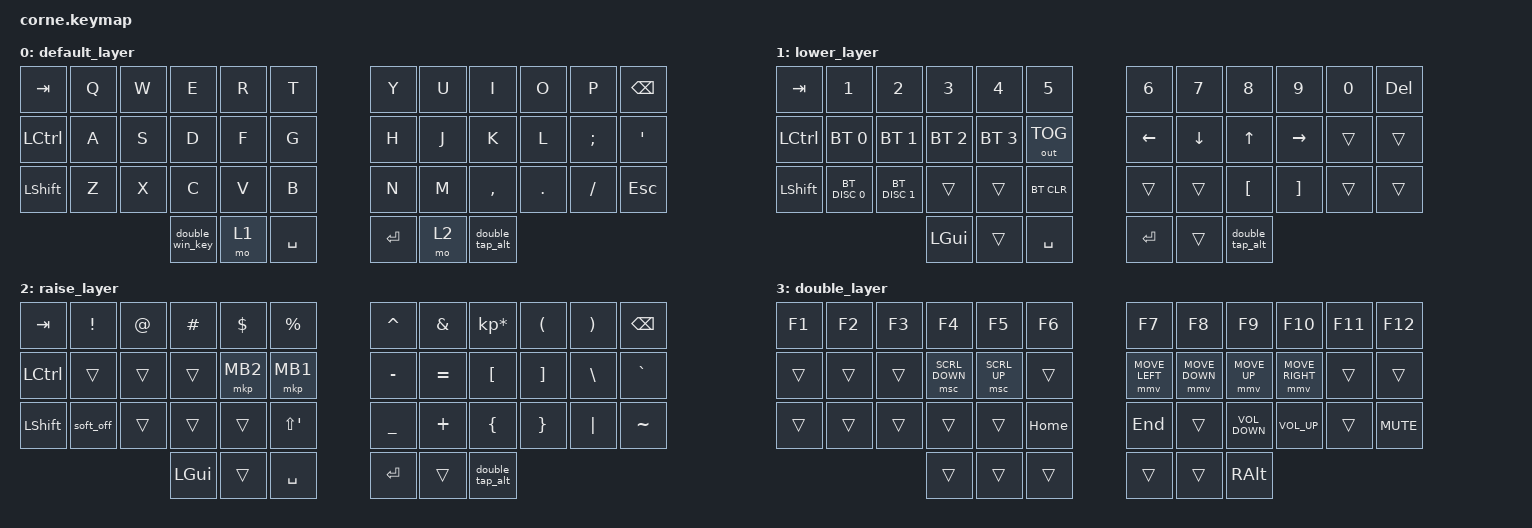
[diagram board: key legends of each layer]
/*
 * Copyright (c) 2020 The ZMK Contributors
 *
 * SPDX-License-Identifier: MIT
 */

#include <behaviors.dtsi>
#include <dt-bindings/zmk/bt.h>
#include <dt-bindings/zmk/keys.h>
#include <dt-bindings/zmk/outputs.h>
#include <dt-bindings/zmk/pointing.h>

/ {
    kscan: kscan {
        compatible = "zmk,kscan-gpio-matrix";
        diode-direction = "col2row";
        wakeup-source;
    };
};

/ {
    behaviors {
        double_tap_alt: double_tap_alt {
            compatible = "zmk,behavior-tap-dance";
            label = "DOUBLE_TAP_ALT";
            #binding-cells = <0>;
            bindings = <&kp LEFT_ALT>, <&kp RIGHT_ALT>;
        };

        double_win_key: double_win_key {
            compatible = "zmk,behavior-tap-dance";
            label = "DOUBLE_WIN_KEY";
            #binding-cells = <0>;
            bindings = <&kp LEFT_WIN>, <&kp LEFT_ALT>;

            tapping-term-ms = <200>;
        };

        soft_off_custom: soft_off_custom {
            compatible = "zmk,behavior-soft-off";
            label = "SOFT_OFF_CUSTOM";
            #binding-cells = <0>;
            hold-time-ms = <3000>;
        };
    };

    keymap {
        compatible = "zmk,keymap";

        default_layer {
            // -----------------------------------------------------------------------------------------
            // |  TAB |  Q  |  W  |  E  |  R  |  T  |   |  Y  |  U   |  I  |  O  |  P  | BKSP |
            // | CTRL |  A  |  S  |  D  |  F  |  G  |   |  H  |  J   |  K  |  L  |  ;  |  '   |
            // | SHFT |  Z  |  X  |  C  |  V  |  B  |   |  N  |  M   |  ,  |  .  |  /  | ESC  |
            //                    | GUI | LWR | SPC |   | ENT | RSE  | ALT |

            bindings = <
&kp TAB    &kp Q  &kp W  &kp E            &kp R  &kp T        &kp Y    &kp U  &kp I            &kp O    &kp P     &kp BSPC
&kp LCTRL  &kp A  &kp S  &kp D            &kp F  &kp G        &kp H    &kp J  &kp K            &kp L    &kp SEMI  &kp SQT
&kp LSHFT  &kp Z  &kp X  &kp C            &kp V  &kp B        &kp N    &kp M  &kp COMMA        &kp DOT  &kp FSLH  &kp ESC
                         &double_win_key  &mo 1  &kp SPACE    &kp RET  &mo 2  &double_tap_alt
            >;
        };

        lower_layer {
            // -----------------------------------------------------------------------------------------
            // |  TAB |  1  |  2  |  3  |  4  |  5  |   |  6  |  7  |  8  |  9  |  0  | BKSP |
            // | BTCLR| BT1 | BT2 | BT3 | BT4 | BT5 |   | LFT | DWN |  UP | RGT |     |      |
            // | SHFT |     |     |     |     |     |   |     |     |     |     |     |      |
            //                    | GUI |     | SPC |   | ENT |     | ALT |

            bindings = <
&kp TAB    &kp N1         &kp N2         &kp N3        &kp N4        &kp N5          &kp N6    &kp N7    &kp N8            &kp N9             &kp N0  &kp DELETE
&kp LCTRL  &bt BT_SEL 0   &bt BT_SEL 1   &bt BT_SEL 2  &bt BT_SEL 3  &out OUT_TOG    &kp LEFT  &kp DOWN  &kp UP            &kp RIGHT          &trans  &trans
&kp LSHFT  &bt BT_DISC 0  &bt BT_DISC 1  &trans        &trans        &bt BT_CLR      &trans    &trans    &kp LEFT_BRACKET  &kp RIGHT_BRACKET  &trans  &trans
                                         &kp LGUI      &trans        &kp SPACE       &kp RET   &trans    &double_tap_alt
            >;
        };

        raise_layer {
            // -----------------------------------------------------------------------------------------
            // |  TAB |  !  |  @  |  #  |  $  |  %  |   |  ^  |  &  |  *  |  (  |  )  | BKSP |
            // | CTRL |     |     |     |     |     |   |  -  |  =  |  [  |  ]  |  \  |  `   |
            // | SHFT |     |     |     |     |     |   |  _  |  +  |  {  |  }  | "|" |  ~   |
            //                    | GUI |     | SPC |   | ENT |     | ALT |

            bindings = <
&kp TAB    &kp EXCL   &kp AT  &kp HASH  &kp DLLR  &kp PRCNT             &kp CARET  &kp AMPS   &kp KP_MULTIPLY  &kp LPAR  &kp RPAR  &kp BSPC
&kp LCTRL  &trans     &trans  &trans    &mkp MB2  &mkp MB1              &kp MINUS  &kp EQUAL  &kp LBKT         &kp RBKT  &kp BSLH  &kp GRAVE
&kp LSHFT  &soft_off  &trans  &trans    &trans    &kp LS(APOSTROPHE)    &kp UNDER  &kp PLUS   &kp LBRC         &kp RBRC  &kp PIPE  &kp TILDE
                              &kp LGUI  &trans    &kp SPACE             &kp RET    &trans     &double_tap_alt
            >;
        };

        double_layer {
            bindings = <
&kp F1  &kp F2  &kp F3  &kp F4          &kp F5        &kp F6      &kp F7          &kp F8          &kp F9             &kp F10          &kp F11  &kp F12
&trans  &trans  &trans  &msc SCRL_DOWN  &msc SCRL_UP  &trans      &mmv MOVE_LEFT  &mmv MOVE_DOWN  &mmv MOVE_UP       &mmv MOVE_RIGHT  &trans   &trans
&trans  &trans  &trans  &trans          &trans        &kp HOME    &kp END         &trans          &kp C_VOLUME_DOWN  &kp C_VOLUME_UP  &trans   &kp K_MUTE
                        &trans          &trans        &trans      &trans          &trans          &kp RIGHT_ALT
            >;
        };
    };

    conditional_layers {
        compatible = "zmk,conditional-layers";

        double {
            if-layers = <1 2>;
            then-layer = <3>;
        };
    };
};
